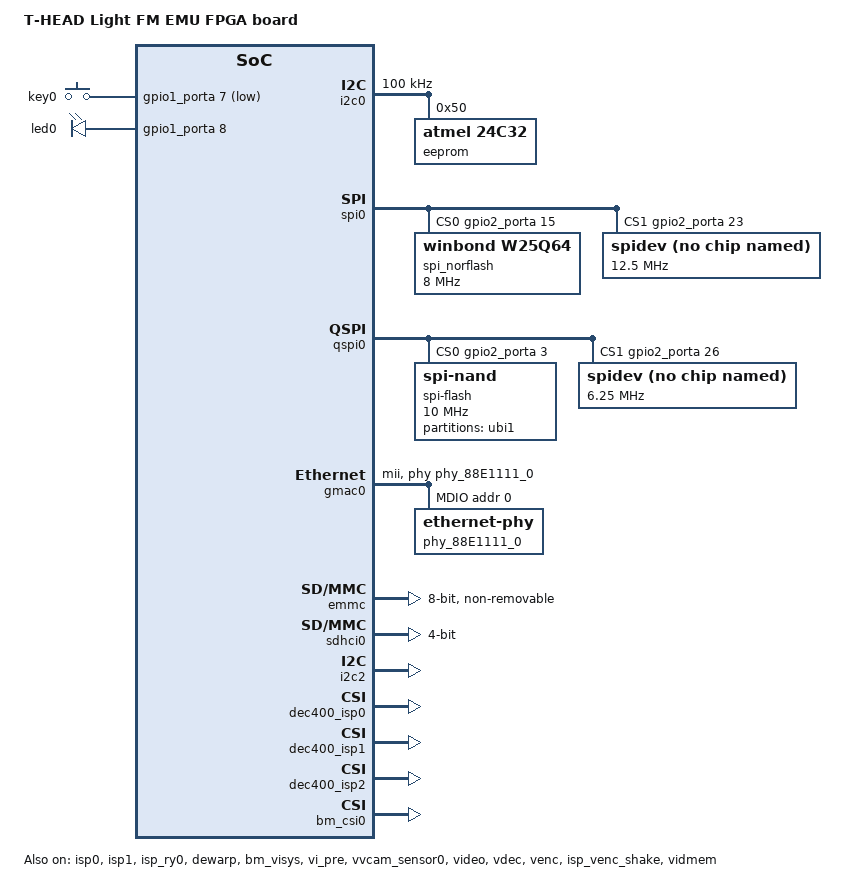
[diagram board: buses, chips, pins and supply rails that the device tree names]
/* SPDX-License-Identifier: GPL-2.0 */
/*
 * Copyright (C) 2021 Alibaba Group Holding Limited.
 */

/dts-v1/;

#include "light-emu.dtsi"

/ {
	model = "T-HEAD Light FM EMU FPGA board";
	compatible = "thead,light-fm-emu", "thead,light";

	chosen {
		bootargs = "console=ttyS0,115200 crashkernel=256M-:128M earlycon sram=0xffe0000000,0x180000";
		linux,initrd-start = <0x0 0x2000000>;
		linux,initrd-end = <0x0 0x4600000>;
		stdout-path = "serial0:115200n8";
	};

	keys {
		compatible = "gpio-keys";

		key0 {
			label = "key0";
			gpios = <&gpio1_porta 7 1>;	/* GPIO_ACTIVE_LOW: 1 */
			linux,code = <59>;		/* KEY_F1: 59 */
			status = "okay";
		};
	};

	leds {
		compatible = "gpio-leds";

		led0 {
			label = "led0";
			gpios = <&gpio1_porta 8 0>;	/* GPIO_ACTIVE_HIGH: 0 */
			default-state = "off";
		};
	};

	iopmp {
		compatible = "thead,light-iopmp";

		/* config#1: multiple valid regions */
		iopmp_emmc: IOPMP_EMMC {
			regions = <0x000000 0x100000>,
				  <0x100000 0x200000>;
			attr = <0xFFFFFFFF>;
			dummy_slave= <0x800000>;
		};

		/* config#2: iopmp bypass */
		iopmp_sdio0: IOPMP_SDIO0 {
			bypass_en;
		};

		/* config#3: iopmp default region set */
		iopmp_sdio1: IOPMP_SDIO1 {
			attr = <0xFFFFFFFF>;
			is_default_region;
		};

		iopmp_usb0: IOPMP_USB0 {
			attr = <0xFFFFFFFF>;
			is_default_region;
		};

		iopmp_ao: IOPMP_AO {
			is_default_region;
		};

		iopmp_aud: IOPMP_AUD {
			is_default_region;
		};

		iopmp_chip_dbg: IOPMP_CHIP_DBG {
			is_default_region;
		};

		iopmp_eip120i: IOPMP_EIP120I {
			is_default_region;
		};

		iopmp_eip120ii: IOPMP_EIP120II {
			is_default_region;
		};

		iopmp_eip120iii: IOPMP_EIP120III {
			is_default_region;
		};

		iopmp_isp0: IOPMP_ISP0 {
			is_default_region;
		};

		iopmp_isp1: IOPMP_ISP1 {
			is_default_region;
		};

		iopmp_dsp: IOPMP_DSP {
			is_default_region;
		};

		iopmp_dw200: IOPMP_DW200 {
			is_default_region;
		};

		iopmp_venc: IOPMP_VENC {
			is_default_region;
		};

		iopmp_vdec: IOPMP_VDEC {
			is_default_region;
		};

		iopmp_g2d: IOPMP_G2D {
			is_default_region;
		};

		iopmp_fce: IOPMP_FCE {
			is_default_region;
		};

		iopmp_npu: IOPMP_NPU {
			is_default_region;
		};

		iopmp0_dpu: IOPMP0_DPU {
			bypass_en;
		};

		iopmp1_dpu: IOPMP1_DPU {
			bypass_en;
		};

		iopmp_gpu: IOPMP_GPU {
			is_default_region;
		};

		iopmp_gmac1: IOPMP_GMAC1 {
			is_default_region;
		};

		iopmp_gmac2: IOPMP_GMAC2 {
			is_default_region;
		};

		iopmp_dmac: IOPMP_DMAC {
			is_default_region;
		};

		iopmp_tee_dmac: IOPMP_TEE_DMAC {
			is_default_region;
		};
	};

	mbox_910t_client1: mbox_910t_client1 {
		compatible = "thead,light-mbox-client";
		mbox-names = "902";
		mboxes = <&mbox_910t 1 0>;
		status = "disabled";
	};


	mbox_910t_client2: mbox_910t_client2 {
		compatible = "thead,light-mbox-client";
		mbox-names = "906";
		mboxes = <&mbox_910t 2 0>;
		status = "disabled";
	};

	lightsound: lightsound@1 {
		compatible = "simple-audio-card";
		simple-audio-card,name = "Light-Sound-Card";

		#address-cells = <1>;
		#size-cells = <0>;

		status = "disabled";
		simple-audio-card,dai-link@0 {          /* I2S - CODEC */
			reg = <0>;
			format = "i2s";
			cpu {
				sound-dai = <&light_i2s 0>;
			};
			codec {
				sound-dai = <&dummy_codec 2>;
			};
		};

		simple-audio-card,dai-link@1 {          /* I2S - HDMI */
			reg = <1>;
			format = "i2s";
			cpu {
				sound-dai = <&light_i2s 1>;
			};
			codec {
				sound-dai = <&dummy_codec 2>;
			};
		};
	};

	dummy_codec: dummy_codec {
		#sound-dai-cells = <1>;
		compatible = "linux,bt-sco";
		status = "okay";
	};
};

&i2c0 {
	clock-frequency = <100000>;
	status = "okay";

	eeprom@50 {
		compatible = "atmel,24c32";
		reg = <0x50>;
		pagesize = <32>;
	};
};

&spi0 {
	num-cs = <2>;
	cs-gpios = <&gpio2_porta 15 0>, // GPIO_ACTIVE_HIGH: 0
		   <&gpio2_porta 23 0>; // GPIO_ACTIVE_LOW: 1
	status = "okay";

	spi_norflash@0 {
		#address-cells = <1>;
		#size-cells = <1>;
		compatible = "winbond,w25q64", "jedec,spi-nor";
		reg = <0>;
		spi-max-frequency = <8000000>;
		w25q,fast-read;
	};

	spidev@1 {
		compatible = "spidev";
		#address-cells = <1>;
		#size-cells = <1>;
		reg = <1>;
		spi-max-frequency = <12500000>;
	};
};

&uart0 {
	clock-frequency = <50000000>;
};

&qspi0 {
	num-cs = <2>;
	cs-gpios = <&gpio2_porta 3 0>, // GPIO_ACTIVE_HIGH: 0
		   <&gpio2_porta 26 0>;
	status = "okay";

	spi-flash@0 {
		#address-cells = <1>;
		#size-cells = <1>;
		compatible = "spi-nand";
		spi-max-frequency = <10000000>;
		spi-tx-bus-width = <4>;
		spi-rx-bus-width = <4>;
		reg = <0>;

		partition@0 {
			label = "ubi1";
			reg = <0x00000000 0x08000000>;
		};
	};

	spidev@1 {
		compatible = "spidev";
		#address-cells = <1>;
		#size-cells = <1>;
		reg = <1>;
		spi-max-frequency = <6250000>;
	};
};

&gmac0 {
	max-speed = <100>;
	phy-mode = "mii";
	phy-handle = <&phy_88E1111_0>;
	status = "okay";

	mdio0 {
		#address-cells = <1>;
		#size-cells = <0>;
		compatible = "snps,dwmac-mdio";

		phy_88E1111_0: ethernet-phy@0 {
			reg = <0x0 0x0>;
		};
	};
};

&gmac1 {
	max-speed = <100>;
	phy-mode = "mii";
	phy-handle = <&phy_88E1111_1>;
	status = "disabled";

	mdio0 {
		#address-cells = <1>;
		#size-cells = <0>;
		compatible = "snps,dwmac-mdio";

		phy_88E1111_1: ethernet-phy@0 {
			reg = <0x0 0x0>;
		};
	};
};

&emmc {
	max-frequency = <50000000>;
	non-removable;
	no-sdio;
	no-sd;
	bus-width = <8>;
	status = "okay";
};

&sdhci0 {
	max-frequency = <50000000>;
	no-1-8-v;
	bus-width = <4>;
	status = "okay";
};

&padctrl0_apsys {
	light-fm-evb {
			/*
			 * Pin Configuration Node:
			 * Format: <pin_id mux_node config>
			 */
			pinctrl_uart0: uart0grp {
				thead,pins = <
					FM_UART0_TXD	0x0	0x72
					FM_UART0_RXD	0x0	0x72
				>;
			};

			pinctrl_spi0: spi0grp {
				thead,pins = <
					FM_SPI_CSN	0x0	0x72
				>;
			};

			pinctrl_qspi0: qspi0grp {
				thead,pins = <
					FM_QSPI0_CSN0	0x0	0x72
				>;
			};
		};
};

&padctrl1_apsys {
	light-fm-evb {
			/*
			 * Pin Configuration Node:
			 * Format: <pin_id mux_node config>
			 */
			pinctrl_uart3: uart3grp {
				thead,pins = <
					FM_UART3_TXD	0x0	0x72
					FM_UART3_RXD	0x0	0x72
				>;
			};

			pinctrl_uart4: uart4grp {
				thead,pins = <
					FM_UART4_TXD	0x0	0x72
					FM_UART4_RXD	0x0	0x72
					FM_UART4_CTSN	0x0	0x72
					FM_UART4_RTSN	0x0	0x72
				>;
			};
		};
};

&padctrl_aosys {
	light-fm-evb {
			/*
			 * Pin Configuration Node:
			 * Format: <pin_id mux_node config>
			 */

			pinctrl_audiopa1: audiopa1_grp {
				thead,pins = <
					FM_AUDIO_PA1	0x3	0x72
				>;
			};

			pinctrl_audiopa2: audiopa2_grp {
				thead,pins = <
					FM_AUDIO_PA2	0x0	0x72
				>;
			};

	};
};

&i2c2 {
	status = "okay";
};

&isp0 {
	status = "okay";
};

&isp1 {
	status = "okay";
};

&isp_ry0 {
	status = "okay";
};

&dewarp {
	status = "okay";
};

&dec400_isp0 {
	status = "okay";
};

&dec400_isp1 {
	status = "okay";
};

&dec400_isp2 {
	status = "okay";
};

&bm_visys {
	status = "okay";
};

&bm_csi0 {
	status = "okay";
};

&vi_pre {
	status = "okay";
};

&vvcam_sensor0 {
	sensor_name = "OV5693";
	status = "okay";
};

&video{
	status = "okay";
	channel0 {
				channel_id = <0>;
				status = "okay";
				sensor0 {
					subdev_name = "vivcam";
					idx = <0>;
					csi_idx = <0>;
					path_type = "SENSOR_VGA_RAW10_LINER";
				};
				/*
				csi0 {
					subdev_name = "bm_csi";
					idx = <0>;
				};
				*/
				dma {
					subdev_name = "vipre";
					idx = <0>;
					path_type = "VIPRE_CSI0_ISP0";
				};
				isp {
					subdev_name = "isp";
					idx = <0>;
						path_type = "ISP_MI_PATH_PP";
				};
				dsp {
					subdev_name = "dsp";
					idx = <0>;
					path_type = "DSP_PATH_ISP_RY";
				};
				ry {
					subdev_name = "ry";
					idx = <0>;
					path_type = "ISP_RY_MI_PATH_MP";
				};
				dw {
					subdev_name = "dw";
					idx = <0>;
					path_type = "DW_PATH_MEM_DW_SC_MEM";
				};
	};
};

&vdec {
	status = "okay";
};

&venc {
	status = "okay";
};

&isp_venc_shake {
	status = "okay";
};

&vidmem {
	status = "okay";
};
